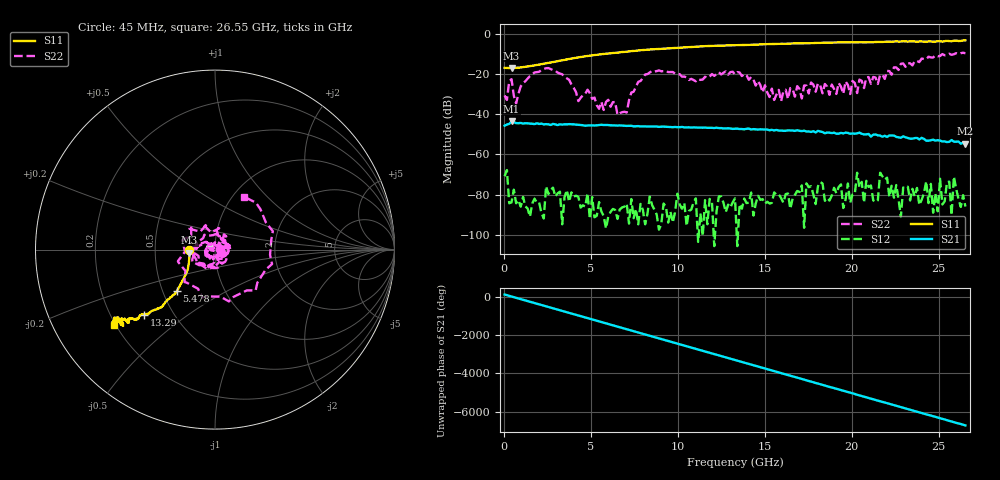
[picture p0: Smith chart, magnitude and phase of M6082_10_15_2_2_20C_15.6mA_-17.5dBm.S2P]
!  2-Port S-parameters saved by WinCal
! VAR MeasName=S-Parameters (CALIBRATED_DATA) read from VNA (C)
! VAR MeasDate=10/16/2015 3:20:24 PM
! VAR NAME=M6082_10_15_2_2_20C_15.6mA_-17.5dBm
! VAR FILENAME=M6082_10_15_2_2_20C_15.6mA_-17.5dBm.S2P
! VAR DATE=10/16/2015 3:20:24 PM
! VAR PHYS_PORTS=2,1
! VAR ObjTypeName=DATASET
! VAR IndexType=Frequency
# Hz S DB R 50
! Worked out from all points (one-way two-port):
!   201 points, 45 MHz to 26.55 GHz, reference 50 ohm
!   highest |S21| = -43.52 dB at 442.5 MHz (marker M1); lowest = -54.6 dB at 26.55 GHz (marker M2)
!   lowest |S11| = -16.8 dB at 442.5 MHz (marker M3), VSWR 1.34, Z = 37.5 - j1.33 ohm
!   |S11| at or under -10 dB: start of sweep to 5.553 GHz
!   |S22| runs from -40.2 to -9.2 dB; largest |S21 - S12| = 0.0067
!   S11 on the Smith chart (normalised r, x): 45 MHz: 0.75, +0.00; 5.478 GHz: 0.59, -0.30; 13.29 GHz: 0.34, -0.35; 26.55 GHz: 0.19, -0.32
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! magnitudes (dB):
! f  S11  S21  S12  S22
! 45 MHz  -16.7  -45.6  -70.9  -30.5
! 442.5 MHz  -16.8  -43.5  -83.9  -22.4
! 707.5 MHz  -16.7  -44.3  -84.4  -34.6
! 2.43 GHz  -14.5  -44.8  -75.8  -16.9
! 4.55 GHz  -11.2  -45.4  -85.4  -30.4
! 5.478 GHz  -10.1  -45.3  -83.8  -37.2
! 7.067 GHz  -8.7  -45.7  -84.6  -39.1
! 7.73 GHz  -8.1  -45.8  -94.9  -23.7
! 8.922 GHz  -7.3  -46.2  -97.6  -18.0
! 13.29 GHz  -5.4  -47.2  -82.0  -20.0
! 15.95 GHz  -4.7  -48.1  -81.8  -33.4
! 17.8 GHz  -4.4  -48.4  -79.9  -25.1
! 20.18 GHz  -4.0  -49.7  -79.8  -24.3
! 20.32 GHz  -4.1  -49.4  -69.1  -29.3
! 21.51 GHz  -3.8  -50.4  -82.9  -24.8
! 21.64 GHz  -3.8  -50.6  -69.1  -20.2
! 22.17 GHz  -3.7  -50.5  -81.2  -18.3
! 24.95 GHz  -3.4  -52.8  -88.4  -11.0
! 25.09 GHz  -3.4  -53.1  -72.1  -10.8
! 25.75 GHz  -3.5  -52.8  -90.3  -10.2
! 25.88 GHz  -3.2  -53.6  -71.0  -9.9
! 26.55 GHz  -3.1  -54.6  -86.0  -9.5
